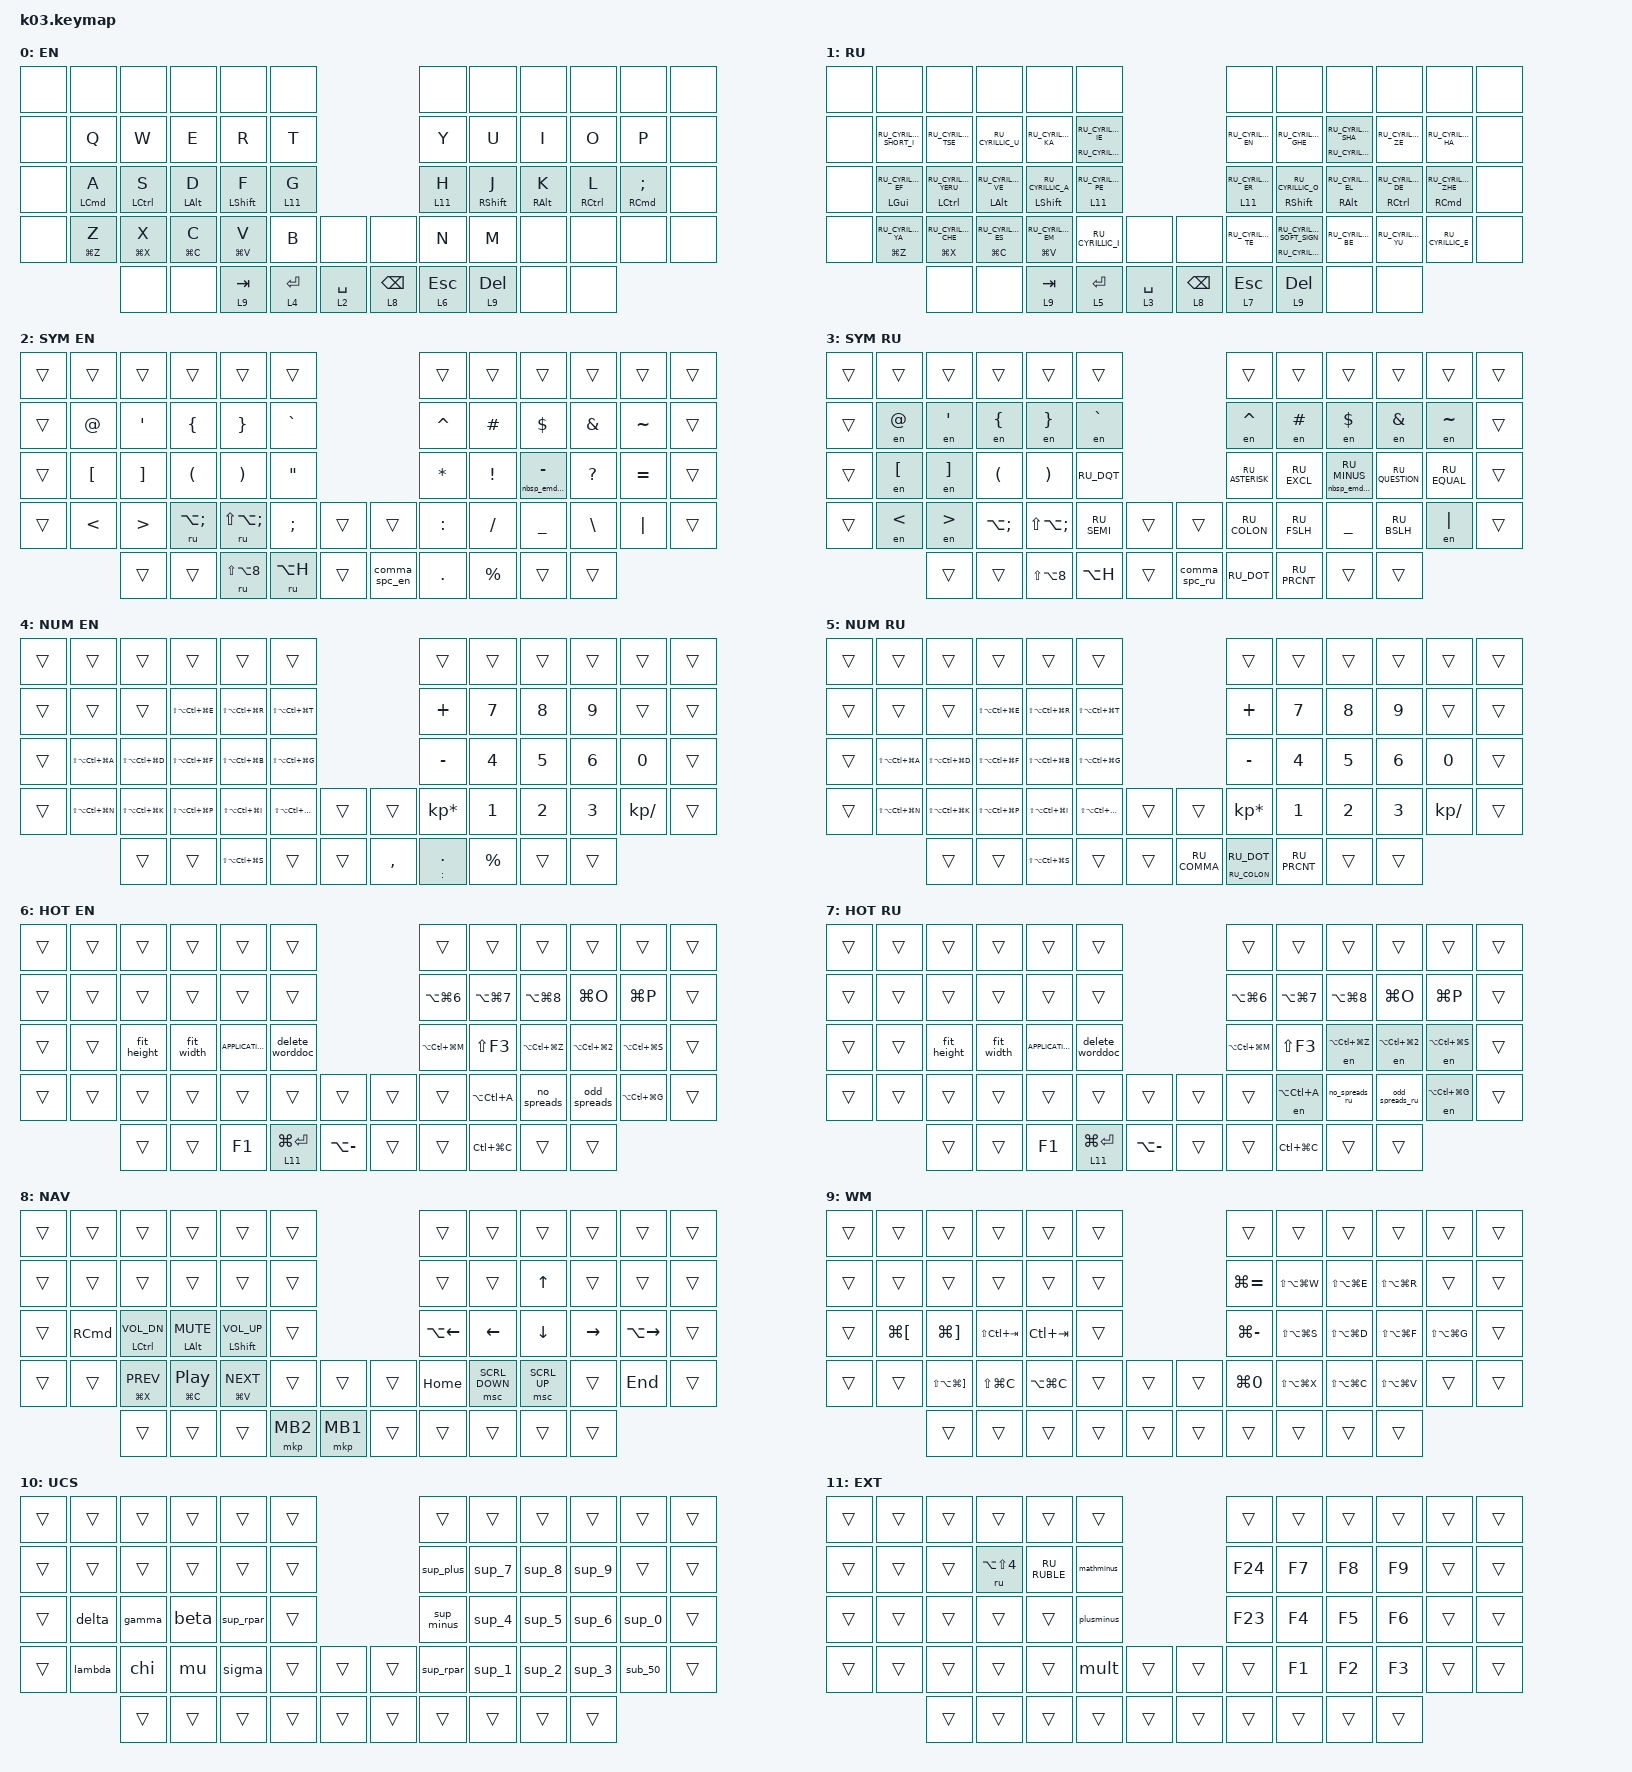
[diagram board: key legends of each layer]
#include "keys_ru.h"

#define ZMK_POINTING_DEFAULT_SCRL_VAL 20

#include <behaviors.dtsi>
#include <dt-bindings/zmk/keys.h>
#include <dt-bindings/zmk/pointing.h>

&mt {
    flavor = "tap-preferred";
    quick-tap-ms = <50>;
};

/ {
    behaviors {
        enc_vol: enc_vol {
            compatible = "zmk,behavior-sensor-rotate";
            label = "ENC_VOL";
            #sensor-binding-cells = <0>;
            bindings = <&kp C_VOL_UP>, <&kp C_VOL_DN>;
        };

        hrm: hrm {
            compatible = "zmk,behavior-hold-tap";
            label = "HRM";
            bindings = <&kp>, <&kp>;

            #binding-cells = <2>;
            tapping-term-ms = <200>;
            flavor = "balanced";
            require-prior-idle-ms = <30>;
        };

        remove: remove {
            compatible = "zmk,behavior-mod-morph";
            label = "REMOVE";
            bindings = <&lt 9 BSPC>, <&kp DEL>;

            #binding-cells = <0>;
            mods = <(MOD_RSFT|MOD_LSFT)>;
        };

        td_dash_en: td_dash_en {
            compatible = "zmk,behavior-hold-tap";
            label = "TD_DASH_EN";
            #binding-cells = <2>;
            flavor = "tap-preferred";
            tapping-term-ms = <170>;
            quick-tap-ms = <50>;
            bindings = <&nbsp_emdash_en>, <&kp>;
        };

        td_dash_ru: td_dash_ru {
            compatible = "zmk,behavior-hold-tap";
            label = "TD_DASH_RU";
            #binding-cells = <2>;
            flavor = "tap-preferred";
            tapping-term-ms = <170>;
            quick-tap-ms = <50>;
            bindings = <&nbsp_emdash_ru>, <&kp>;
        };

        bspc_del: bspc_del {
            compatible = "zmk,behavior-mod-morph";
            label = "BSPC_DEL";
            bindings = <&kp BSPC>, <&kp DEL>;

            #binding-cells = <0>;
            mods = <(MOD_LSFT)>;
        };
    };

    macros {
        toEn: to_en {
            compatible = "zmk,behavior-macro";
            #binding-cells = <0>;
            bindings = <&to 0 &kp F13>;
            label = "TO_EN";
        };

        toRu: to_ru {
            compatible = "zmk,behavior-macro";
            #binding-cells = <0>;
            bindings = <&to 1 &kp F14>;
            label = "TO_RU";
        };

        en: en {
            compatible = "zmk,behavior-macro-one-param";
            #binding-cells = <1>;
            bindings = <&kp F13 &macro_param_1to1 &kp MACRO_PLACEHOLDER &kp F14>;
            label = "EN";
            wait-ms = <0>;
            tap-ms = <30>;
        };

        ru: ru {
            compatible = "zmk,behavior-macro-one-param";
            #binding-cells = <1>;
            bindings = <&kp F14 &macro_param_1to1 &kp MACRO_PLACEHOLDER &kp F13>;
            label = "RU";
            wait-ms = <0>;
            tap-ms = <30>;
        };

        nbsp_emdash_en: nbsp_emdash_en {
            compatible = "zmk,behavior-macro";
            #binding-cells = <0>;
            bindings = <&ru LA(SPACE) &ru LS(LA(MINUS))>;
            label = "NBSP_EMDASH_EN";
        };

        nbsp_emdash_ru: nbsp_emdash_ru {
            compatible = "zmk,behavior-macro";
            #binding-cells = <0>;
            bindings = <&kp LA(SPACE) &kp LS(LA(MINUS))>;
            label = "NBSP_EMDASH_RU";
        };

        par_input: par_input {
            compatible = "zmk,behavior-macro";
            #binding-cells = <0>;
            bindings = <&kp LPAR &kp RPAR &kp LEFT>;
            label = "PAR_INPUT";
        };

        mult: mult {
            compatible = "zmk,behavior-macro";
            #binding-cells = <0>;
            bindings =
                <&macro_press>,
                <&kp LALT &kp U &kp N0 &kp N0 &kp D &kp N7>,
                <&macro_release>,
                <&kp LALT>;

            label = "MULT";
        };

        ru_mult: ru_mult {
            compatible = "zmk,behavior-macro";
            #binding-cells = <0>;
            bindings = <&toEn &mult &toRu>;
            label = "RU_MULT";
            tap-ms = <50>;
        };

        plusminus: plusminus {
            compatible = "zmk,behavior-macro";
            #binding-cells = <0>;
            bindings =
                <&macro_press>,
                <&kp LALT &kp U &kp N0 &kp N0 &kp B &kp N1>,
                <&macro_release>,
                <&kp LALT>;

            label = "PLUSMINUS";
        };

        ru_plusminus: ru_plusminus {
            compatible = "zmk,behavior-macro";
            #binding-cells = <0>;
            bindings =
                <&kp F13>,
                <&macro_press>,
                <&kp LALT &kp U &kp N0 &kp N0 &kp B &kp N1>,
                <&macro_release>,
                <&kp LALT &kp F14>;

            label = "RU_PLUSMINUS";
        };

        mathminus: mathminus {
            compatible = "zmk,behavior-macro";
            #binding-cells = <0>;
            bindings =
                <&macro_press>,
                <&kp LALT &kp U &kp N2 &kp N2 &kp N1 &kp N2>,
                <&macro_release>,
                <&kp LALT>;

            label = "MATHMINUS";
        };

        ru_mathminus: ru_mathminus {
            compatible = "zmk,behavior-macro";
            #binding-cells = <0>;
            bindings =
                <&kp F13>,
                <&macro_press>,
                <&kp LALT &kp U &kp N2 &kp N2 &kp N1 &kp N2>,
                <&macro_release>,
                <&kp LALT &kp F14>;

            label = "RU_MATHMINUS";
        };

        alpha: alpha {
            compatible = "zmk,behavior-macro";
            #binding-cells = <0>;
            bindings = <&kp U &kp N0 &kp N3 &kp B &kp N1>;
            label = "ALPHA";
        };

        beta: beta {
            compatible = "zmk,behavior-macro";
            #binding-cells = <0>;
            bindings = <&kp U &kp N0 &kp N3 &kp B &kp N2>;
            label = "BETA";
        };

        gamma: gamma {
            compatible = "zmk,behavior-macro";
            #binding-cells = <0>;
            bindings = <&kp U &kp N0 &kp N3 &kp B &kp N3>;
            label = "GAMMA";
        };

        delta: delta {
            compatible = "zmk,behavior-macro";
            #binding-cells = <0>;
            bindings = <&kp U &kp N0 &kp N3 &kp B &kp N4>;
            label = "DELTA";
        };

        sigma: sigma {
            compatible = "zmk,behavior-macro";
            #binding-cells = <0>;
            bindings = <&kp U &kp N0 &kp N3 &kp C &kp N3>;
            label = "SIGMA";
        };

        mu: mu {
            compatible = "zmk,behavior-macro";
            #binding-cells = <0>;
            bindings = <&kp U &kp N0 &kp N3 &kp B &kp C>;
            label = "MU";
        };

        lambda: lambda {
            compatible = "zmk,behavior-macro";
            #binding-cells = <0>;
            bindings = <&kp U &kp N0 &kp N3 &kp B &kp B>;
            label = "LAMBDA";
        };

        chi: chi {
            compatible = "zmk,behavior-macro";
            #binding-cells = <0>;
            bindings = <&kp U &kp N0 &kp N3 &kp C &kp N7>;
            label = "CHI";
        };

        sup_0: sup_0 {
            compatible = "zmk,behavior-macro";
            #binding-cells = <0>;
            bindings = <&kp U &kp N2 &kp N0 &kp N7 &kp N0>;
            label = "SUP_0";
        };

        sup_1: sup_1 {
            compatible = "zmk,behavior-macro";
            #binding-cells = <0>;
            bindings = <&kp U &kp N0 &kp N0 &kp B &kp N9>;
            label = "SUP_1";
        };

        sup_2: sup_2 {
            compatible = "zmk,behavior-macro";
            #binding-cells = <0>;
            bindings = <&kp U &kp N0 &kp N0 &kp B &kp N2>;
            label = "SUP_2";
        };

        sup_3: sup_3 {
            compatible = "zmk,behavior-macro";
            #binding-cells = <0>;
            bindings = <&kp U &kp N0 &kp N0 &kp B &kp N3>;
            label = "SUP_3";
        };

        sup_4: sup_4 {
            compatible = "zmk,behavior-macro";
            #binding-cells = <0>;
            bindings = <&kp U &kp N2 &kp N0 &kp N7 &kp N4>;
            label = "SUP_4";
        };

        sup_5: sup_5 {
            compatible = "zmk,behavior-macro";
            #binding-cells = <0>;
            bindings = <&kp U &kp N2 &kp N0 &kp N7 &kp N5>;
            label = "SUP_5";
        };

        sup_6: sup_6 {
            compatible = "zmk,behavior-macro";
            #binding-cells = <0>;
            bindings = <&kp U &kp N2 &kp N0 &kp N7 &kp N6>;
            label = "SUP_6";
        };

        sup_7: sup_7 {
            compatible = "zmk,behavior-macro";
            #binding-cells = <0>;
            bindings = <&kp U &kp N2 &kp N0 &kp N7 &kp N7>;
            label = "SUP_7";
        };

        sup_8: sup_8 {
            compatible = "zmk,behavior-macro";
            #binding-cells = <0>;
            bindings = <&kp U &kp N2 &kp N0 &kp N7 &kp N8>;
            label = "SUP_8";
        };

        sup_9: sup_9 {
            compatible = "zmk,behavior-macro";
            #binding-cells = <0>;
            bindings = <&kp U &kp N2 &kp N0 &kp N7 &kp N9>;
            label = "SUP_9";
        };

        sup_minus: sup_minus {
            compatible = "zmk,behavior-macro";
            #binding-cells = <0>;
            bindings = <&kp U &kp N2 &kp N0 &kp N7 &kp A>;
            label = "SUP_MINUS";
        };

        sup_plus: sup_plus {
            compatible = "zmk,behavior-macro";
            #binding-cells = <0>;
            bindings = <&kp U &kp N2 &kp N0 &kp N7 &kp B>;
            label = "SUP_PLUS";
        };

        sup_lpar: sup_lpar {
            compatible = "zmk,behavior-macro";
            #binding-cells = <0>;
            bindings = <&kp U &kp N2 &kp N0 &kp N7 &kp D>;
            label = "SUP_LPAR";
        };

        sup_rpar: sup_rpar {
            compatible = "zmk,behavior-macro";
            #binding-cells = <0>;
            bindings = <&kp U &kp N2 &kp N0 &kp N7 &kp E>;
            label = "SUP_RPAR";
        };

        sub_50: sub_50 {
            compatible = "zmk,behavior-macro";
            #binding-cells = <0>;
            bindings = <&kp U &kp N2 &kp N0 &kp N8 &kp N5 &kp U &kp N2 &kp N0 &kp N8 &kp N0>;
            label = "SUB_50";
        };

        ml: ml {
            compatible = "zmk,behavior-macro-two-param";
            #binding-cells = <2>;
            bindings =
                <&macro_press>,
                <&macro_param_1to1 &mo MACRO_PLACEHOLDER &macro_param_2to1 &kp MACRO_PLACEHOLDER>,
                <&macro_pause_for_release>,
                <&macro_release>,
                <&macro_param_1to1 &mo MACRO_PLACEHOLDER &macro_param_2to1 &kp MACRO_PLACEHOLDER>;

            label = "ML";
        };

        odd_spreads: odd_spreads {
            compatible = "zmk,behavior-macro";
            #binding-cells = <0>;
            bindings = <&kp LS(LA(LC(LG(X)))) &kp DOWN &kp DOWN &kp DOWN &kp DOWN &kp DOWN &kp RIGHT &kp DOWN &kp DOWN &kp DOWN &kp DOWN &kp DOWN &kp ENTER>;
            label = "zotero_odd_pages";
            wait-ms = <0>;
            tap-ms = <0>;
        };

        no_spreads: no_spreads {
            compatible = "zmk,behavior-macro";
            #binding-cells = <0>;
            bindings = <&kp LS(LA(LC(LG(X)))) &kp DOWN &kp DOWN &kp DOWN &kp DOWN &kp DOWN &kp RIGHT &kp DOWN &kp DOWN &kp DOWN &kp DOWN &kp ENTER>;
            label = "NO_SPREADS";
            wait-ms = <0>;
            tap-ms = <0>;
        };

        odd_spreads_ru: odd_spreads_ru {
            compatible = "zmk,behavior-macro";
            #binding-cells = <0>;
            bindings = <&en LS(LA(LC(LG(X)))) &kp DOWN &kp DOWN &kp DOWN &kp DOWN &kp DOWN &kp RIGHT &kp DOWN &kp DOWN &kp DOWN &kp DOWN &kp DOWN>;
            label = "ODD_SPREADS_RU";
            wait-ms = <0>;
            tap-ms = <30>;
        };

        no_spreads_ru: no_spreads_ru {
            compatible = "zmk,behavior-macro";
            #binding-cells = <0>;
            bindings = <&en LS(LA(LC(LG(X)))) &kp DOWN &kp DOWN &kp DOWN &kp DOWN &kp DOWN &kp RIGHT &kp DOWN &kp DOWN &kp DOWN &kp DOWN>;
            label = "NO_SPREADS_RU";
            wait-ms = <0>;
            tap-ms = <0>;
        };

        fit_height: fit_height {
            compatible = "zmk,behavior-macro";
            #binding-cells = <0>;
            bindings =
                <&mkp MB2>,
                <&macro_wait_time 10>,
                <&kp DOWN &kp DOWN &kp DOWN &kp DOWN &kp DOWN &kp DOWN>,
                <&macro_wait_time 10>,
                <&kp ENTER>;

            label = "FIT_HEIGHT";
            wait-ms = <0>;
            tap-ms = <0>;
        };

        fit_width: fit_width {
            compatible = "zmk,behavior-macro";
            #binding-cells = <0>;
            bindings =
                <&mkp MB2>,
                <&macro_wait_time 30>,
                <&kp DOWN &kp DOWN &kp DOWN &kp DOWN>,
                <&macro_wait_time 30>,
                <&kp ENTER>;

            label = "FIT_WIDTH";
            wait-ms = <0>;
            tap-ms = <30>;
        };

        delete_worddoc: delete_worddoc {
            compatible = "zmk,behavior-macro";
            #binding-cells = <0>;
            bindings = <&kp TAB &kp TAB &kp TAB &kp TAB &kp TAB &kp TAB &kp ENTER>;
            label = "DELETE_WORDDOC";
        };

        quo_input: quo_input {
            compatible = "zmk,behavior-macro";
            #binding-cells = <0>;
            bindings = <&kp LA(SEMI) &kp LS(LA(SEMI)) &kp LEFT>;
            label = "QUO_INPUT";
        };

        comma_spc_ru: comma_spc_ru {
            compatible = "zmk,behavior-macro";
            #binding-cells = <0>;
            bindings = <&kp RU_COMMA &kp SPACE>;
            label = "COMMA_SPC_RU";
        };

        comma_spc_en: comma_spc_en {
            compatible = "zmk,behavior-macro";
            #binding-cells = <0>;
            bindings = <&kp COMMA &kp SPACE>;
            label = "COMMA_SPC_EN";
        };

        cels_ru: cels_ru {
            compatible = "zmk,behavior-macro";
            #binding-cells = <0>;
            bindings = <&kp LA(SPACE) &kp LS(LA(N8)) &kp RS(C)>;
            label = "CELS_RU";
        };

        cels_en: cels_en {
            compatible = "zmk,behavior-macro";
            #binding-cells = <0>;
            bindings =
                <&ru LA(SPACE)>,
                <&macro_wait_time 20>,
                <&ru LS(LA(N8))>,
                <&macro_wait_time 20>,
                <&kp RS(C)>;

            label = "CELS_EN";
            tap-ms = <30>;
            wait-ms = <0>;
        };

        zotero_two_pages: zotero_two_pages {
            compatible = "zmk,behavior-macro";
            #binding-cells = <0>;
            bindings =
                <&kp LS(LA(LC(LG(X))))>,
                <&macro_wait_time 10>,
                <&kp V &kp ENTER &kp O &kp ENTER>,
                <&macro_wait_time 10>,
                <&kp LS(LA(LC(LG(X))))>,
                <&macro_wait_time 10>,
                <&kp V &kp ENTER &kp S &kp UP &kp ENTER>;

            label = "ZOTERO_TWO_PAGES";
            wait-ms = <0>;
            tap-ms = <0>;
        };

        zotero_one_page: zotero_one_page {
            compatible = "zmk,behavior-macro";
            #binding-cells = <0>;
            bindings =
                <&kp LS(LA(LC(LG(X))))>,
                <&macro_wait_time 10>,
                <&kp V &kp ENTER &kp N &kp ENTER>,
                <&macro_wait_time 10>,
                <&kp LS(LA(LC(LG(X))))>,
                <&macro_wait_time 10>,
                <&kp V &kp ENTER &kp A &kp ENTER>;

            label = "ZOTERO_ONE_PAGE";
            wait-ms = <0>;
            tap-ms = <0>;
        };
    };

    combos {
        compatible = "zmk,combos";

        UC_layer {
            bindings = <&ml 10 LALT>;
            key-positions = <53 56>;
            layers = <0>;
        };

        OSM_Shift {
            bindings = <&sk LSHFT>;
            key-positions = <54 55>;
            layers = <0 1>;
        };

        opt_hyphen {
            bindings = <&kp LA(LC(MINUS))>;
            key-positions = <45 46>;
            layers = <2 3>;
        };

        nbhyphen {
            bindings = <&kp LC(LG(MINUS))>;
            key-positions = <31 45>;
            layers = <2 3>;
        };

        par_input {
            bindings = <&par_input>;
            key-positions = <27 28>;
            layers = <4 2 3 5>;
        };

        quo_input {
            bindings = <&quo_input>;
            key-positions = <39 40>;
            layers = <3>;
        };

        shortcat {
            bindings = <&kp LG(LS(SPACE))>;
            key-positions = <31 32>;
            layers = <0 1>;
        };

        command_palette {
            bindings = <&kp LS(LG(P))>;
            key-positions = <29 28>;
            layers = <0 1>;
        };

        view_frmt_marks_en {
            bindings = <&kp LS(LG(N8))>;
            key-positions = <31 45>;
            layers = <0>;
        };

        view_frmt_marks_ru {
            bindings = <&en LS(LG(N8))>;
            key-positions = <31 45>;
            layers = <1>;
        };

        CMD_1 {
            bindings = <&kp LG(N1)>;
            key-positions = <17 29>;
            layers = <0 1>;
        };

        CMD_2 {
            bindings = <&kp LG(N2)>;
            key-positions = <16 28>;
            layers = <0 1>;
        };

        CMD_3 {
            bindings = <&kp LG(N3)>;
            key-positions = <15 27>;
            layers = <0 1>;
        };

        CMD_4 {
            bindings = <&kp LG(N4)>;
            key-positions = <14 26>;
            layers = <0 1>;
        };

        ALT_1 {
            bindings = <&kp LA(N1)>;
            key-positions = <18 30>;
            layers = <0 1>;
        };

        ALT_2 {
            bindings = <&kp LA(N2)>;
            key-positions = <19 31>;
            layers = <0 1>;
        };

        ALT_3 {
            bindings = <&kp LA(N3)>;
            key-positions = <20 32>;
            layers = <0 1>;
        };

        toRu {
            bindings = <&toRu>;
            key-positions = <45 46>;
            layers = <0 1>;
        };

        toEn {
            bindings = <&toEn>;
            key-positions = <39 40>;
            layers = <0 1>;
        };

        word_review_lang {
            bindings = <&kp LA(LC(LG(L)))>;
            key-positions = <45 46>;
            layers = <6 7>;
        };

        capslock {
            bindings = <&kp CAPS>;
            key-positions = <31 28>;
            layers = <0 1>;
        };

        page_up {
            bindings = <&kp PG_UP>;
            key-positions = <20 32>;
            layers = <8>;
        };

        page_down {
            bindings = <&kp PG_DN>;
            key-positions = <32 46>;
            layers = <8>;
        };

        ALT_4 {
            bindings = <&kp LA(N4)>;
            key-positions = <21 33>;
            layers = <0 1>;
        };

        ALT_5 {
            bindings = <&kp LA(N5)>;
            key-positions = <22 34>;
            layers = <0 1>;
        };

        CMD_5 {
            bindings = <&kp LG(N5)>;
            key-positions = <13 25>;
            layers = <0 1>;
        };

        zotero_one_page {
            bindings = <&zotero_one_page>;
            key-positions = <16 28>;
            layers = <6 7>;
        };

        zotero_two_pages {
            bindings = <&zotero_two_pages>;
            key-positions = <15 27>;
            layers = <6 7>;
        };
    };

    keymap {
        compatible = "zmk,keymap";

        base_EN {
            bindings = <
&none  &none        &none         &none        &none          &none                                   &none      &none          &none        &none         &none           &none
&none  &kp Q        &kp W         &kp E        &kp R          &kp T                                   &kp Y      &kp U          &kp I        &kp O         &kp P           &none
&none  &hrm LCMD A  &hrm LCTRL S  &hrm LALT D  &hrm LSHIFT F  &lt 11 G                                &lt 11 H   &hrm RSHIFT J  &hrm RALT K  &hrm RCTRL L  &hrm RCMD SEMI  &none
&none  &mt LG(Z) Z  &mt LG(X) X   &mt LG(C) C  &mt LG(V) V    &kp B        &none          &none       &kp N      &kp M          &none        &none         &none           &none
                    &none         &none        &lt 9 TAB      &lt 4 ENTER  &lt 2 SPACE    &lt 8 BSPC  &lt 6 ESC  &lt 9 DEL      &none        &none
            >;

            display-name = "EN";
        };

        base_RU {
            display-name = "RU";
            bindings = <
&none  &none                     &none                        &none                     &none                     &none                                                         &none                  &none                                            &none                                  &none                      &none                      &none
&none  &kp RU_CYRILLIC_SHORT_I   &kp RU_CYRILLIC_TSE          &kp RU_CYRILLIC_U         &kp RU_CYRILLIC_KA        &mt RU_CYRILLIC_IO RU_CYRILLIC_IE                             &kp RU_CYRILLIC_EN     &kp RU_CYRILLIC_GHE                              &mt RU_CYRILLIC_SHCHA RU_CYRILLIC_SHA  &kp RU_CYRILLIC_ZE         &kp RU_CYRILLIC_HA         &none
&none  &hrm LGUI RU_CYRILLIC_EF  &hrm LCTRL RU_CYRILLIC_YERU  &hrm LALT RU_CYRILLIC_VE  &hrm LSHFT RU_CYRILLIC_A  &lt 11 RU_CYRILLIC_PE                                         &lt 11 RU_CYRILLIC_ER  &hrm RSHFT RU_CYRILLIC_O                         &hrm RALT RU_CYRILLIC_EL               &hrm RCTRL RU_CYRILLIC_DE  &hrm RCMD RU_CYRILLIC_ZHE  &none
&none  &mt LG(Z) RU_CYRILLIC_YA  &mt LG(X) RU_CYRILLIC_CHE    &mt LG(C) RU_CYRILLIC_ES  &mt LG(V) RU_CYRILLIC_EM  &kp RU_CYRILLIC_I                  &none          &none       &kp RU_CYRILLIC_TE     &mt RU_CYRILLIC_HARD_SIGN RU_CYRILLIC_SOFT_SIGN  &kp RU_CYRILLIC_BE                     &kp RU_CYRILLIC_YU         &kp RU_CYRILLIC_E          &none
                                 &none                        &none                     &lt 9 TAB                 &lt 5 ENTER                        &lt 3 SPACE    &lt 8 BSPC  &lt 7 ESC              &lt 9 DEL                                        &none                                  &none
            >;
        };

        sym_EN {
            bindings = <
&trans  &trans    &trans            &trans        &trans            &trans                              &trans        &trans     &trans               &trans        &trans     &trans
&trans  &kp AT    &kp SINGLE_QUOTE  &kp LBRC      &kp RBRC          &kp GRAVE                           &kp CARET     &kp HASH   &kp DLLR             &kp AMPS      &kp TILDE  &trans
&trans  &kp LBKT  &kp RBKT          &kp LPAR      &kp RPAR          &kp DQT                             &kp ASTERISK  &kp EXCL   &td_dash_en 0 MINUS  &kp QUESTION  &kp EQUAL  &trans
&trans  &kp LT    &kp GT            &ru LA(SEMI)  &ru LS(LA(SEMI))  &kp SEMI   &trans    &trans         &kp COLON     &kp FSLH   &kp UNDER            &kp BSLH      &kp PIPE   &trans
                  &trans            &trans        &ru LS(LA(N8))    &ru LA(H)  &trans    &comma_spc_en  &kp DOT       &kp PRCNT  &trans               &trans
            >;

            display-name = "SYM EN";
        };

        sym_RU {
            bindings = <
&trans  &trans    &trans            &trans        &trans            &trans                                &trans           &trans        &trans                  &trans           &trans        &trans
&trans  &en AT    &en SINGLE_QUOTE  &en LBRC      &en RBRC          &en GRAVE                             &en CARET        &en HASH      &en DLLR                &en AMPS         &en TILDE     &trans
&trans  &en LBKT  &en RBKT          &kp LPAR      &kp RPAR          &kp RU_DQT                            &kp RU_ASTERISK  &kp RU_EXCL   &td_dash_ru 0 RU_MINUS  &kp RU_QUESTION  &kp RU_EQUAL  &trans
&trans  &en LT    &en GT            &kp LA(SEMI)  &kp LS(LA(SEMI))  &kp RU_SEMI  &trans    &trans         &kp RU_COLON     &kp RU_FSLH   &kp UNDER               &kp RU_BSLH      &en PIPE      &trans
                  &trans            &trans        &kp LS(LA(N8))    &kp LA(H)    &trans    &comma_spc_ru  &kp RU_DOT       &kp RU_PRCNT  &trans                  &trans
            >;

            label = "SYM RU";
        };

        num_EN {
            display-name = "NUM EN";
            bindings = <
&trans  &trans                 &trans                 &trans                 &trans                 &trans                                      &trans           &trans     &trans  &trans  &trans         &trans
&trans  &trans                 &trans                 &kp LS(LA(LC(LG(E))))  &kp LS(LA(LC(LG(R))))  &kp LS(LA(LC(LG(T))))                       &kp PLUS         &kp N7     &kp N8  &kp N9  &trans         &trans
&trans  &kp LS(LA(LC(LG(A))))  &kp LS(LA(LC(LG(D))))  &kp LS(LA(LC(LG(F))))  &kp LS(LA(LC(LG(B))))  &kp LS(LA(LC(LG(G))))                       &kp MINUS        &kp N4     &kp N5  &kp N6  &kp N0         &trans
&trans  &kp LS(LA(LC(LG(N))))  &kp LS(LA(LC(LG(K))))  &kp LS(LA(LC(LG(P))))  &kp LS(LA(LC(LG(I))))  &kp LS(LA(LC(LG(M))))  &trans    &trans     &kp KP_MULTIPLY  &kp N1     &kp N2  &kp N3  &kp KP_DIVIDE  &trans
                               &trans                 &trans                 &kp LS(LA(LC(LG(S))))  &trans                 &trans    &kp COMMA  &mt COLON DOT    &kp PRCNT  &trans  &trans
            >;

            label = "NUM EN";
        };

        num_RU {
            label = "NUM RU";
            display-name = "NUM RU";
            bindings = <
&trans  &trans                 &trans                 &trans                 &trans                 &trans                                         &trans               &trans        &trans  &trans  &trans         &trans
&trans  &trans                 &trans                 &kp LS(LA(LC(LG(E))))  &kp LS(LA(LC(LG(R))))  &kp LS(LA(LC(LG(T))))                          &kp PLUS             &kp N7        &kp N8  &kp N9  &trans         &trans
&trans  &kp LS(LA(LC(LG(A))))  &kp LS(LA(LC(LG(D))))  &kp LS(LA(LC(LG(F))))  &kp LS(LA(LC(LG(B))))  &kp LS(LA(LC(LG(G))))                          &kp MINUS            &kp N4        &kp N5  &kp N6  &kp N0         &trans
&trans  &kp LS(LA(LC(LG(N))))  &kp LS(LA(LC(LG(K))))  &kp LS(LA(LC(LG(P))))  &kp LS(LA(LC(LG(I))))  &kp LS(LA(LC(LG(M))))  &trans    &trans        &kp KP_MULTIPLY      &kp N1        &kp N2  &kp N3  &kp KP_DIVIDE  &trans
                               &trans                 &trans                 &kp LS(LA(LC(LG(S))))  &trans                 &trans    &kp RU_COMMA  &mt RU_COLON RU_DOT  &kp RU_PRCNT  &trans  &trans
            >;
        };

        macro_EN {
            label = "HOT EN";
            bindings = <
&trans  &trans  &trans       &trans      &trans             &trans                                     &trans             &trans          &trans             &trans              &trans             &trans
&trans  &trans  &trans       &trans      &trans             &trans                                     &kp LA(LG(N6))     &kp LA(LG(N7))  &kp LA(LG(N8))     &kp LG(O)           &kp LG(P)          &trans
&trans  &trans  &fit_height  &fit_width  &kp K_APPLICATION  &delete_worddoc                            &kp LA(LC(LG(M)))  &kp LS(F3)      &kp LA(LC(LG(Z)))  &kp LA(LC(LG(N2)))  &kp LA(LC(LG(S)))  &trans
&trans  &trans  &trans       &trans      &trans             &trans            &trans           &trans  &trans             &kp LA(LC(A))   &no_spreads        &odd_spreads        &kp LA(LC(LG(G)))  &trans
                &trans       &trans      &kp F1             &lt 11 LG(ENTER)  &kp LA(MINUS)    &trans  &trans             &kp LC(LG(C))   &trans             &trans
            >;
        };

        macro_RU {
            bindings = <
&trans  &trans  &trans       &trans      &trans             &trans                                     &trans             &trans          &trans             &trans              &trans             &trans
&trans  &trans  &trans       &trans      &trans             &trans                                     &kp LA(LG(N6))     &kp LA(LG(N7))  &kp LA(LG(N8))     &kp LG(O)           &kp LG(P)          &trans
&trans  &trans  &fit_height  &fit_width  &kp K_APPLICATION  &delete_worddoc                            &kp LA(LC(LG(M)))  &kp LS(F3)      &en LA(LC(LG(Z)))  &en LA(LC(LG(N2)))  &en LA(LC(LG(S)))  &trans
&trans  &trans  &trans       &trans      &trans             &trans            &trans           &trans  &trans             &en LA(LC(A))   &no_spreads_ru     &odd_spreads_ru     &en LA(LC(LG(G)))  &trans
                &trans       &trans      &kp F1             &lt 11 LG(ENTER)  &kp LA(MINUS)    &trans  &trans             &kp LC(LG(C))   &trans             &trans
            >;

            label = "HOT RU";
        };

        nav {
            bindings = <
&trans  &trans    &trans               &trans            &trans                       &trans                        &trans        &trans          &trans        &trans     &trans         &trans
&trans  &trans    &trans               &trans            &trans                       &trans                        &trans        &trans          &kp UP        &trans     &trans         &trans
&trans  &kp RCMD  &hrm LCTRL C_VOL_DN  &hrm LALT C_MUTE  &hrm LEFT_SHIFT C_VOLUME_UP  &trans                        &kp LA(LEFT)  &kp LEFT        &kp DOWN      &kp RIGHT  &kp LA(RIGHT)  &trans
&trans  &trans    &mt LG(X) C_PREV     &mt LG(C) C_PP    &mt LG(V) C_NEXT             &trans    &trans      &trans  &kp HOME      &msc SCRL_DOWN  &msc SCRL_UP  &trans     &kp END        &trans
                  &trans               &trans            &trans                       &mkp MB2  &mkp MB1    &trans  &trans        &trans          &trans        &trans
            >;

            display-name = "NAV";
            label = "NAV";
        };

        wind_man {
            bindings = <
&trans  &trans                &trans                         &trans           &trans         &trans                    &trans         &trans             &trans             &trans             &trans             &trans
&trans  &trans                &trans                         &trans           &trans         &trans                    &kp LG(EQUAL)  &kp LS(LA(LG(W)))  &kp LS(LA(LG(E)))  &kp LS(LA(LG(R)))  &trans             &trans
&trans  &kp LG(LEFT_BRACKET)  &kp LG(RIGHT_BRACKET)          &kp LS(LC(TAB))  &kp LC(TAB)    &trans                    &kp LG(MINUS)  &kp LS(LA(LG(S)))  &kp LS(LA(LG(D)))  &kp LS(LA(LG(F)))  &kp LS(LA(LG(G)))  &trans
&trans  &trans                &kp LS(LA(LG(RIGHT_BRACKET)))  &kp LS(LG(C))    &kp LA(LG(C))  &trans  &trans    &trans  &kp LG(N0)     &kp LS(LA(LG(X)))  &kp LS(LA(LG(C)))  &kp LS(LA(LG(V)))  &trans             &trans
                              &trans                         &trans           &trans         &trans  &trans    &trans  &trans         &trans             &trans             &trans
            >;

            display-name = "WM";
            label = "WM";
        };

        unicode {
            bindings = <
&trans  &trans   &trans  &trans  &trans     &trans                    &trans      &trans  &trans  &trans  &trans   &trans
&trans  &trans   &trans  &trans  &trans     &trans                    &sup_plus   &sup_7  &sup_8  &sup_9  &trans   &trans
&trans  &delta   &gamma  &beta   &sup_rpar  &trans                    &sup_minus  &sup_4  &sup_5  &sup_6  &sup_0   &trans
&trans  &lambda  &chi    &mu     &sigma     &trans  &trans    &trans  &sup_rpar   &sup_1  &sup_2  &sup_3  &sub_50  &trans
                 &trans  &trans  &trans     &trans  &trans    &trans  &trans      &trans  &trans  &trans
            >;

            label = "UCS";
        };

        extra {
            display-name = "EXT";
            bindings = <
&trans  &trans  &trans  &trans          &trans        &trans                        &trans   &trans  &trans  &trans  &trans  &trans
&trans  &trans  &trans  &ru LA(LS(N4))  &kp RU_RUBLE  &mathminus                    &kp F24  &kp F7  &kp F8  &kp F9  &trans  &trans
&trans  &trans  &trans  &trans          &trans        &plusminus                    &kp F23  &kp F4  &kp F5  &kp F6  &trans  &trans
&trans  &trans  &trans  &trans          &trans        &mult       &trans    &trans  &trans   &kp F1  &kp F2  &kp F3  &trans  &trans
                &trans  &trans          &trans        &trans      &trans    &trans  &trans   &trans  &trans  &trans
            >;
        };
    };
};
